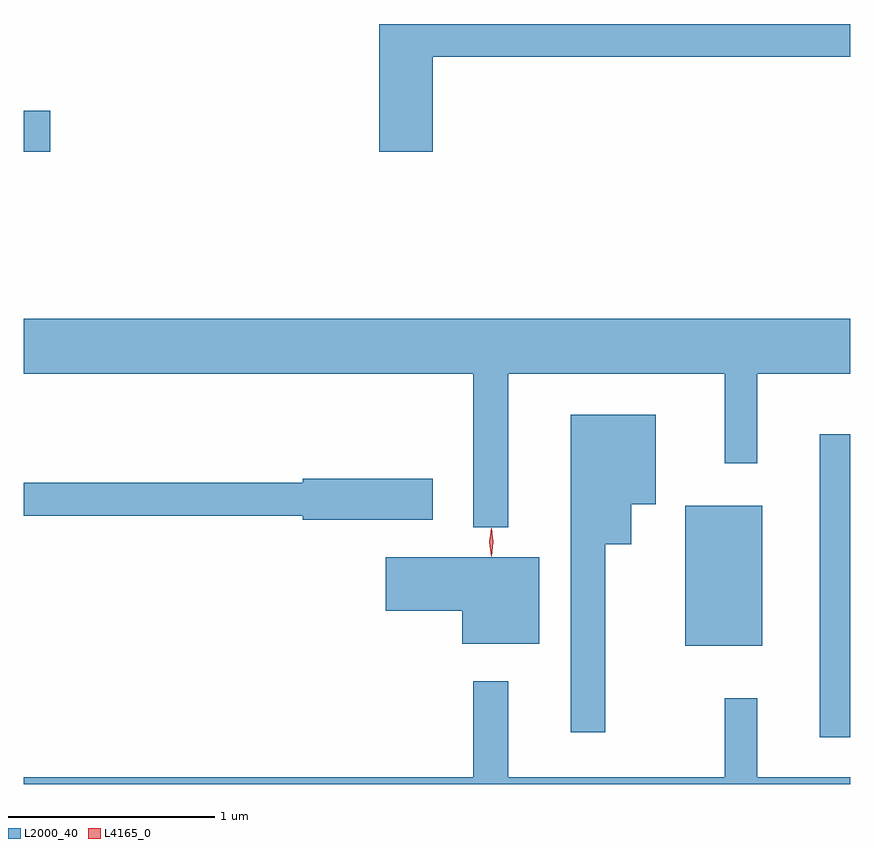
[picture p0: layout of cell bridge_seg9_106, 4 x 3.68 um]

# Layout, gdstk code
import gdstk
lib = gdstk.Library(unit=1e-6, precision=1e-09)
def R(c, l, rs):  # rectangles x0, y0, x1, y1
    for r in rs: c.add(gdstk.rectangle(r[:2], r[2:], *l))
def P(c, l, *ps):  # polygons
    for p in ps: c.add(gdstk.Polygon(p, *l))
L2000_40 = (2000, 40)
L4165_0 = (4165, 0)

bridge_seg9_106 = lib.new_cell('bridge_seg9_106')
R(bridge_seg9_106, L2000_40, [(1837.626,1965.638,1837.775,1967.104), (1836.976,1966.081,1837.349,1966.759), (1833.775,1968.471,1833.904,1968.669)])
P(bridge_seg9_106, L2000_40, [(1835.754,1968.931),(1837.775,1968.931),(1837.775,1969.089),(1835.496,1969.089),(1835.496,1968.471),(1835.754,1968.471)],
  [(1836.119,1967.396),(1837.166,1967.396),(1837.166,1966.963),(1837.324,1966.963),(1837.324,1967.396),(1837.775,1967.396),(1837.775,1967.664),(1833.775,1967.664),(1833.775,1967.396),(1835.951,1967.396),(1835.951,1966.653),(1836.119,1966.653)],
  [(1836.589,1966.571),(1836.714,1966.571),(1836.714,1966.766),(1836.834,1966.766),(1836.834,1967.199),(1836.421,1967.199),(1836.421,1965.663),(1836.589,1965.663)],
  [(1835.754,1966.889),(1835.126,1966.889),(1835.126,1966.869),(1833.775,1966.869),(1833.775,1966.711),(1835.126,1966.711),(1835.126,1966.691),(1835.754,1966.691)],
  [(1836.269,1966.509),(1835.526,1966.509),(1835.526,1966.251),(1835.896,1966.251),(1835.896,1966.091),(1836.269,1966.091)],
  [(1837.775,1965.444),(1837.324,1965.444),(1837.324,1965.828),(1837.166,1965.828),(1837.166,1965.444),(1836.119,1965.444),(1836.119,1965.908),(1835.951,1965.908),(1835.951,1965.444),(1833.775,1965.444),(1833.775,1965.412),(1837.775,1965.412)])
P(bridge_seg9_106, L4165_0, [(1836.038,1966.514),(1836.028,1966.582),(1836.038,1966.65),(1836.038,1966.65),(1836.039,1966.65),(1836.048,1966.582),(1836.039,1966.514),(1836.039,1966.514)],
  [(1836.039,1966.52),(1836.038,1966.521),(1836.029,1966.584),(1836.038,1966.647),(1836.038,1966.647),(1836.039,1966.647),(1836.048,1966.584),(1836.039,1966.521)])

lib.write_gds('bridge_seg9_106.gds')
